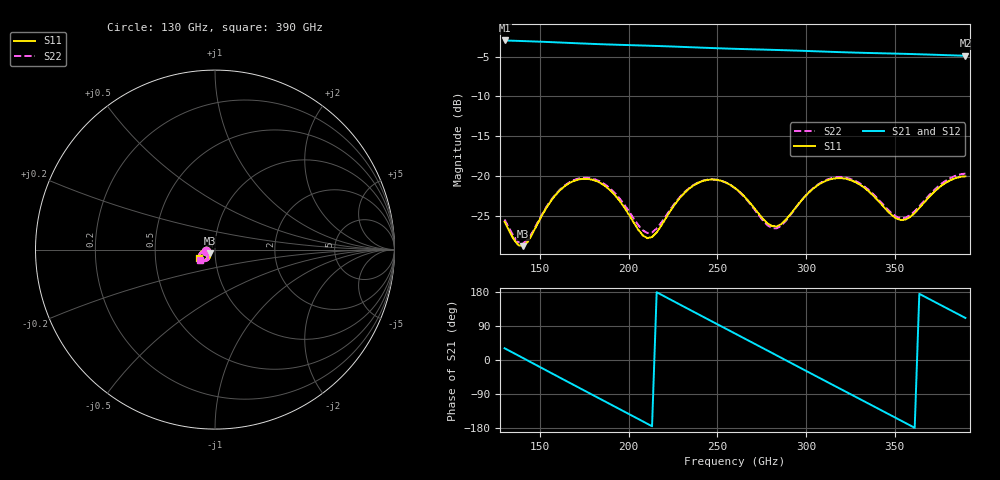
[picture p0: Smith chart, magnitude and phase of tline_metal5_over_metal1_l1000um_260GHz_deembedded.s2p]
! Created with skrf 2.2.0 (http://scikit-rf.org).
# GHz S DB R 50.0
! Port[1] = P1
! Port[2] = P2
!freq dBS11 angS11 dBS21 angS21 dBS12 angS12 dBS22 angS22
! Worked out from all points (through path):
!   101 points, 130 GHz to 390 GHz, reference 50 ohm
!   highest |S21| = -2.96 dB at 130 GHz (marker M1); lowest = -4.9 dB at 390 GHz (marker M2)
!   group delay of S21, straight-line fit = 6.83 ps
!   lowest |S11| = -28.8 dB at 140.4 GHz (marker M3), VSWR 1.08, Z = 47.1 - j1.95 ohm
!   |S11| at or under -10 dB: start of sweep to end of sweep
!   |S22| runs from -28.5 to -19.7 dB; largest |S21 - S12| = 7.9e-14
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130  -25.74 -173.9  -2.96 31.0  -2.96 31.0  -25.45 -172.4
140.4  -28.80 -145.2  -3.04 5.2  -3.04 5.2  -28.45 -145.3
156  -23.16 -124.3  -3.17 -33.6  -3.17 -33.6  -23.06 -123.9
174.2  -20.34 -148.5  -3.35 -78.7  -3.35 -78.7  -20.22 -147.1
187.2  -21.33 -167.3  -3.46 -110.7  -3.46 -110.7  -21.13 -165.4
200.2  -24.86 -174.9  -3.55 -142.7  -3.55 -142.7  -24.44 -172.7
210.6  -27.79 -153.7  -3.62 -168.4  -3.62 -168.4  -27.15 -153.7
218.4  -26.22 -132.4  -3.67 172.3  -3.67 172.3  -25.85 -134.0
228.8  -22.76 -129.6  -3.76 146.6  -3.76 146.6  -22.65 -130.7
241.8  -20.61 -143.7  -3.87 114.6  -3.87 114.6  -20.58 -144.0
260  -21.49 -166.2  -4.01 69.9  -4.01 69.9  -21.52 -166.0
273  -24.62 -169.0  -4.09 38.0  -4.09 38.0  -24.79 -168.4
283.4  -26.31 -149.3  -4.16 12.4  -4.16 12.4  -26.56 -147.0
293.8  -24.07 -132.7  -4.23 -13.2  -4.23 -13.2  -24.12 -129.5
304.2  -21.55 -135.6  -4.31 -38.8  -4.31 -38.8  -21.49 -132.4
314.6  -20.35 -146.4  -4.40 -64.3  -4.40 -64.3  -20.24 -143.2
325  -20.48 -158.6  -4.47 -89.7  -4.47 -89.7  -20.34 -155.4
335.4  -21.90 -167.6  -4.53 -115.2  -4.53 -115.2  -21.72 -164.3
348.4  -24.89 -162.9  -4.60 -147.0  -4.60 -147.0  -24.67 -159.5
356.2  -25.46 -147.5  -4.65 -166.2  -4.65 -166.2  -25.23 -144.2
369.2  -22.70 -134.0  -4.73 161.9  -4.73 161.9  -22.49 -130.2
390  -20.02 -150.9  -4.88 111.0  -4.88 111.0  -19.68 -145.8
